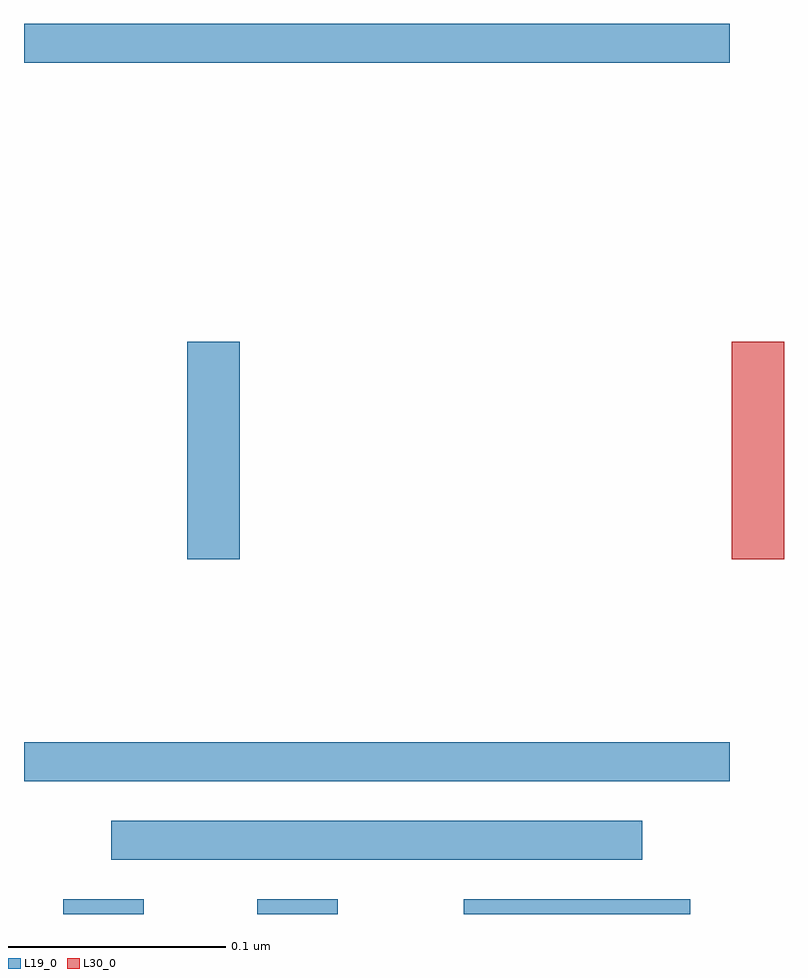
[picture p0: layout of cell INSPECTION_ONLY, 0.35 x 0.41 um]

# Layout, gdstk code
import gdstk
lib = gdstk.Library(unit=1e-6, precision=2.5e-10)
def R(c, l, rs):  # rectangles x0, y0, x1, y1
    for r in rs: c.add(gdstk.rectangle(r[:2], r[2:], *l))
L19_0 = (19, 0)
L30_0 = (30, 0)

inspection_only = lib.new_cell('INSPECTION_ONLY')
R(inspection_only, L19_0, [(6.018,0.2,6.055,0.207), (6.107,0.2,6.144,0.207), (6.202,0.2,6.306,0.207), (6.04,0.225,6.284,0.243), (6,0.261,6.324,0.279), (6.075,0.363,6.099,0.463), (6,0.591,6.324,0.609)])
R(inspection_only, L30_0, [(6.325,0.363,6.349,0.463)])

lib.write_gds('INSPECTION_ONLY.gds')
